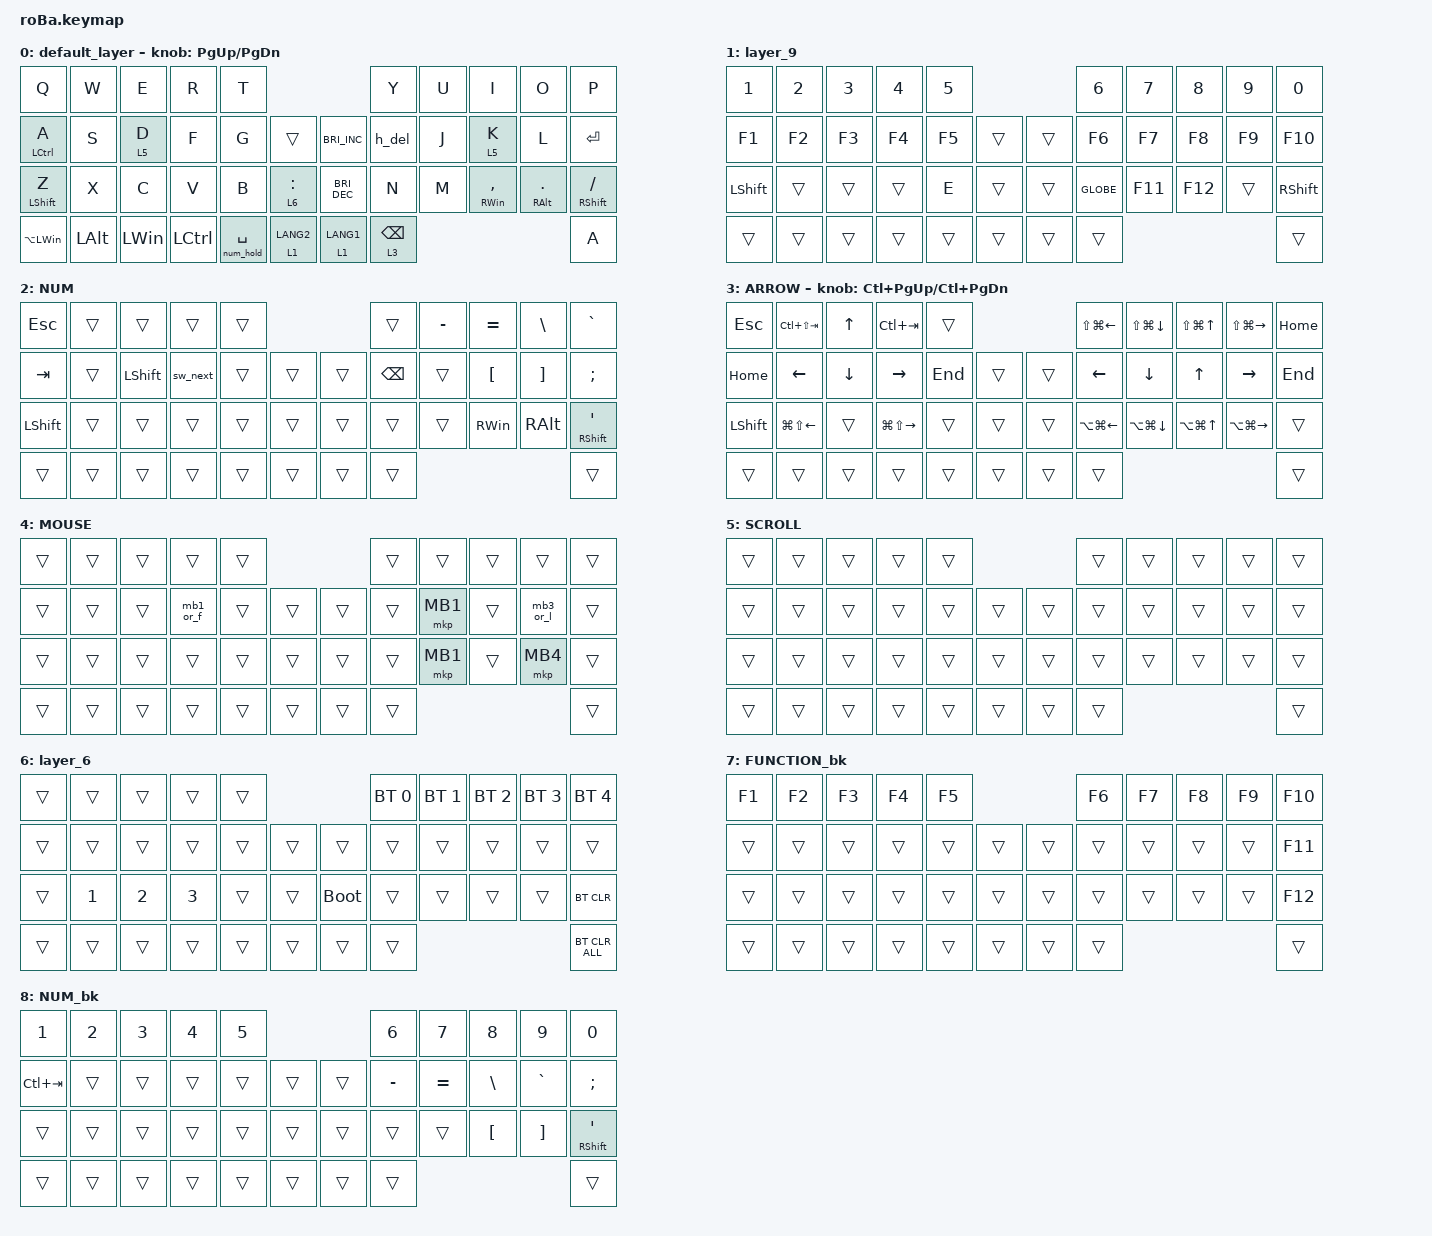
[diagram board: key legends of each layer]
#include <behaviors.dtsi>
#include <dt-bindings/zmk/bt.h>
#include <dt-bindings/zmk/keys.h>
#include <dt-bindings/zmk/pointing.h>

&mt {
    flavor = "tap-preferred";
    tapping-term-ms = <200>;
    quick-tap-ms = <0>;
    require-prior-idle-ms = <150>;
};

&trackball {
    // オートマウスは roBa_R.overlay の zip_temp_layer で行う
    scroll-layers = <5>;

    // arrows {
    //     layers = <3>;
    //     bindings =
    //         <&kp RIGHT_ARROW>,
    //         <&kp LEFT_ARROW>,
    //         <&kp UP_ARROW>,
    //         <&kp DOWN_ARROW>;
    //     tick = <10>;
    //     wait-ms = <5>;
    //     tap-ms = <5>;
    // };
};

/ {
    combos {
        compatible = "zmk,combos";

        muhennkann {
            bindings = <&to_layer_0 INT_MUHENKAN>;
            key-positions = <11 10>;
        };

        double_quotation {
            bindings = <&kp DOUBLE_QUOTES>;
            key-positions = <20 21>;
        };

        eq {
            bindings = <&kp EQUAL>;
            key-positions = <24 25>;
        };

        mb2 {
            bindings = <&mkp MB2>;
            key-positions = <18 19>;
            layers = <4>;
        };

        mb2_2 {
            bindings = <&mkp MB2>;
            key-positions = <31 30>;
        };
    };

    macros {
        to_layer_0: to_layer_0 {
            compatible = "zmk,behavior-macro-one-param";
            #binding-cells = <1>;
            bindings = <&to 0 &macro_param_1to1 &kp MACRO_PLACEHOLDER>;
            label = "TO_LAYER_0";
        };

        // AltTab: Cmd を押したまま Tab（Cmd は Space を離すまで保持）
        sw_start: sw_start {
            compatible = "zmk,behavior-macro";
            #binding-cells = <0>;
            bindings = <&macro_press &kp LGUI>, <&macro_tap &kp TAB>;
        };

        // Space 長押し: レイヤー2、離したらレイヤー解除と同時に Cmd を離して確定
        num_hold: num_hold {
            compatible = "zmk,behavior-macro";
            #binding-cells = <0>;
            wait-ms = <0>;
            tap-ms = <0>;
            bindings
                = <&macro_press &mo 2>
                , <&macro_pause_for_release>
                , <&macro_release &mo 2 &kp LGUI>;
        };
    };

    behaviors {
        lt_to_layer_0: lt_to_layer_0 {
            compatible = "zmk,behavior-hold-tap";
            label = "LAYER_TAP_TO_0";
            bindings = <&mo>, <&to_layer_0>;

            #binding-cells = <2>;
            tapping-term-ms = <200>;
        };

        h_del: h_del {
            compatible = "zmk,behavior-mod-morph";
            label = "H_DELETE";
            #binding-cells = <0>;
            bindings = <&kp H>, <&kp BACKSPACE>;

            mods = <(MOD_LCTL|MOD_RCTL)>;
        };

        // AltTab: Cmd が押されていなければ開始、押されていれば次へ
        sw_next: sw_next {
            compatible = "zmk,behavior-mod-morph";
            #binding-cells = <0>;
            bindings = <&sw_start>, <&kp TAB>;

            mods = <(MOD_LGUI)>;
            keep-mods = <(MOD_LGUI)>;
        };

        // マウスレイヤー: Cmd 押下中は F / L を文字として送る（Cmd+F / Cmd+L 用）
        mb1_or_f: mb1_or_f {
            compatible = "zmk,behavior-mod-morph";
            #binding-cells = <0>;
            bindings = <&mkp MB1>, <&kp F>;

            mods = <(MOD_LGUI|MOD_RGUI)>;
            keep-mods = <(MOD_LGUI|MOD_RGUI)>;
        };

        mb3_or_l: mb3_or_l {
            compatible = "zmk,behavior-mod-morph";
            #binding-cells = <0>;
            bindings = <&mkp MB3>, <&kp L>;

            mods = <(MOD_LGUI|MOD_RGUI)>;
            keep-mods = <(MOD_LGUI|MOD_RGUI)>;
        };

        // &lt 2 SPACE と同じ判定で、長押しは num_hold
        lt_num: lt_num {
            compatible = "zmk,behavior-hold-tap";
            #binding-cells = <2>;
            bindings = <&num_hold>, <&kp>;

            flavor = "tap-preferred";
            tapping-term-ms = <200>;
        };
    };

    keymap {
        compatible = "zmk,keymap";

        default_layer {
            bindings = <
&kp Q             &kp W         &kp E         &kp R      &kp T                                                            &kp Y            &kp U  &kp I                &kp O              &kp P
&mt LCTRL A       &kp S         &lt 5 D       &kp F      &kp G        &trans                      &kp C_BRIGHTNESS_INC    &h_del           &kp J  &lt 5 K              &kp L              &kp ENTER
&mt LEFT_SHIFT Z  &kp X         &kp C         &kp V      &kp B        &lt 6 COLON                 &kp C_BRIGHTNESS_DEC    &kp N            &kp M  &mt RIGHT_WIN COMMA  &mt RIGHT_ALT DOT  &mt RIGHT_SHIFT SLASH
&kp LA(LEFT_WIN)  &kp LEFT_ALT  &kp LEFT_WIN  &kp LCTRL  &lt_num 0 SPACE  &lt_to_layer_0 1 LANG2      &lt_to_layer_0 1 LANG1  &lt 3 BACKSPACE                                                 &kp A
            >;

            sensor-bindings = <&inc_dec_kp PG_UP PAGE_DOWN>;
        };

        layer_9 {
            bindings = <
&kp N1          &kp N2  &kp N3  &kp N4  &kp N5                      &kp N6     &kp N7   &kp N8   &kp N9  &kp N0
&kp F1          &kp F2  &kp F3  &kp F4  &kp F5  &trans      &trans  &kp F6     &kp F7   &kp F8   &kp F9  &kp F10
&kp LEFT_SHIFT  &trans  &trans  &trans  &kp E   &trans      &trans  &kp GLOBE  &kp F11  &kp F12  &trans  &kp RIGHT_SHIFT
&trans          &trans  &trans  &trans  &trans  &trans      &trans  &trans                               &trans
            >;
        };

        NUM {
            bindings = <
&kp ESC    &trans  &trans  &trans  &trans                      &trans         &kp MINUS  &kp EQUAL      &kp BSLH       &kp GRAVE
&kp TAB    &trans  &kp LSHIFT  &sw_next  &trans  &trans      &trans  &kp BACKSPACE  &trans     &kp LBKT       &kp RBKT       &kp SEMI
&kp LSHFT  &trans  &trans  &trans  &trans  &trans      &trans  &trans         &trans     &kp RIGHT_WIN  &kp RIGHT_ALT  &mt RIGHT_SHIFT SQT
&trans     &trans  &trans  &trans  &trans  &trans      &trans  &trans                                                  &trans
            >;
        };

        ARROW {
            bindings = <
&kp ESCAPE      &kp LC(LS(TAB))         &kp UP_ARROW    &kp LC(TAB)              &trans                       &kp LS(LG(LEFT_ARROW))  &kp LS(LG(DOWN))  &kp LS(LG(UP_ARROW))  &kp LS(LG(RIGHT_ARROW))  &kp HOME
&kp HOME        &kp LEFT_ARROW          &kp DOWN_ARROW  &kp RIGHT_ARROW          &kp END  &trans      &trans  &kp LEFT_ARROW          &kp DOWN          &kp UP                &kp RIGHT                &kp END
&kp LEFT_SHIFT  &kp LG(LS(LEFT_ARROW))  &trans          &kp LG(LS(RIGHT_ARROW))  &trans   &trans      &trans  &kp LA(LG(LEFT_ARROW))  &kp LA(LG(DOWN))  &kp LA(LG(UP_ARROW))  &kp LA(LG(RIGHT_ARROW))  &trans
&trans          &trans                  &trans          &trans                   &trans   &trans      &trans  &trans                                                                                   &trans
            >;

            sensor-bindings = <&inc_dec_kp LC(PAGE_UP) LC(PAGE_DOWN)>;
        };

        MOUSE {
            bindings = <
&trans  &trans  &trans  &trans    &trans                      &trans  &trans    &trans  &trans    &trans
&trans  &trans  &trans  &mb1_or_f  &trans  &trans      &trans  &trans  &mkp MB1  &trans  &mb3_or_l  &trans
&trans  &trans  &trans  &trans    &trans  &trans      &trans  &trans  &mkp MB1  &trans  &mkp MB4  &trans
&trans  &trans  &trans  &trans    &trans  &trans      &trans  &trans                              &trans
            >;
        };

        SCROLL {
            bindings = <
&trans  &trans  &trans  &trans  &trans                      &trans  &trans  &trans  &trans  &trans
&trans  &trans  &trans  &trans  &trans  &trans      &trans  &trans  &trans  &trans  &trans  &trans
&trans  &trans  &trans  &trans  &trans  &trans      &trans  &trans  &trans  &trans  &trans  &trans
&trans  &trans  &trans  &trans  &trans  &trans      &trans  &trans                          &trans
            >;
        };

        layer_6 {
            bindings = <
&trans  &trans        &trans        &trans        &trans                           &bt BT_SEL 0  &bt BT_SEL 1  &bt BT_SEL 2  &bt BT_SEL 3  &bt BT_SEL 4
&trans  &trans        &trans        &trans        &trans  &trans      &trans       &trans        &trans        &trans        &trans        &trans
&trans  &kp NUMBER_1  &kp NUMBER_2  &kp NUMBER_3  &trans  &trans      &bootloader  &trans        &trans        &trans        &trans        &bt BT_CLR
&trans  &trans        &trans        &trans        &trans  &trans      &trans       &trans                                                  &bt BT_CLR_ALL
            >;
        };

        FUNCTION_bk {
            bindings = <
&kp F1  &kp F2  &kp F3  &kp F4  &kp F5                      &kp F6  &kp F7  &kp F8  &kp F9  &kp F10
&trans  &trans  &trans  &trans  &trans  &trans      &trans  &trans  &trans  &trans  &trans  &kp F11
&trans  &trans  &trans  &trans  &trans  &trans      &trans  &trans  &trans  &trans  &trans  &kp F12
&trans  &trans  &trans  &trans  &trans  &trans      &trans  &trans                          &trans
            >;
        };

        NUM_bk {
            bindings = <
&kp NUMBER_1  &kp N2  &kp N3  &kp N4  &kp N5                      &kp N6     &kp N7     &kp N8    &kp N9     &kp N0
&kp LC(TAB)   &trans  &trans  &trans  &trans  &trans      &trans  &kp MINUS  &kp EQUAL  &kp BSLH  &kp GRAVE  &kp SEMI
&trans        &trans  &trans  &trans  &trans  &trans      &trans  &trans     &trans     &kp LBKT  &kp RBKT   &mt RIGHT_SHIFT SQT
&trans        &trans  &trans  &trans  &trans  &trans      &trans  &trans                                     &trans
            >;
        };
    };
};
